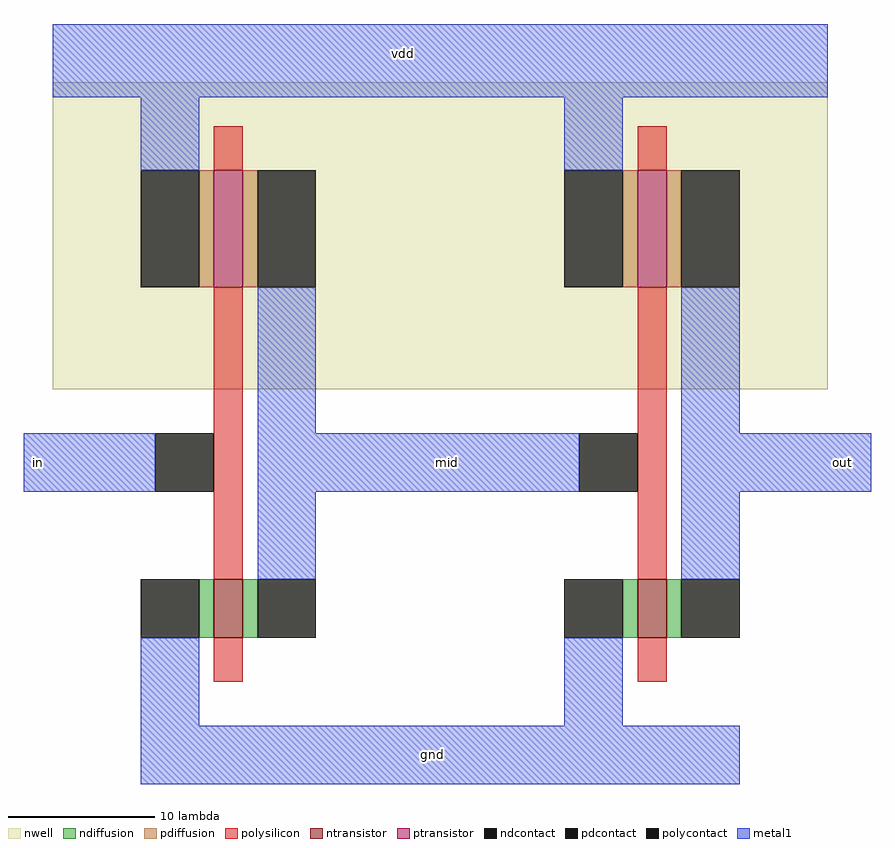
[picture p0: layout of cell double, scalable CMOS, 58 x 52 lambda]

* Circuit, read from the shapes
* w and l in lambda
.subckt double gnd in mid out vdd
M1 mid in gnd VSUBS nfet w=4 l=2
M2 out mid gnd VSUBS nfet w=4 l=2
M3 mid in vdd n1 pfet w=8 l=2
M4 out mid vdd n1 pfet w=8 l=2
.ends

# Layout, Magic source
magic
tech scmos
<< nwell >>
rect 0 0 53 21
<< ntransistor >>
rect 11 -17 13 -13
rect 40 -17 42 -13
<< ptransistor >>
rect 11 7 13 15
rect 40 7 42 15
<< ndiffusion >>
rect 10 -17 11 -13
rect 13 -17 14 -13
rect 39 -17 40 -13
rect 42 -17 43 -13
<< pdiffusion >>
rect 10 7 11 15
rect 13 7 14 15
rect 39 7 40 15
rect 42 7 43 15
<< ndcontact >>
rect 6 -17 10 -13
rect 14 -17 18 -13
rect 35 -17 39 -13
rect 43 -17 47 -13
<< pdcontact >>
rect 6 7 10 15
rect 14 7 18 15
rect 35 7 39 15
rect 43 7 47 15
<< polysilicon >>
rect 11 15 13 18
rect 40 15 42 18
rect 11 -13 13 7
rect 40 -13 42 7
rect 11 -20 13 -17
rect 40 -20 42 -17
<< polycontact >>
rect 7 -7 11 -3
rect 36 -7 40 -3
<< metal1 >>
rect 0 20 53 25
rect 6 15 10 20
rect 35 15 39 20
rect 14 -3 18 7
rect 43 -3 47 7
rect -2 -7 7 -3
rect 14 -7 36 -3
rect 43 -7 56 -3
rect 14 -13 18 -7
rect 43 -13 47 -7
rect 6 -23 10 -17
rect 35 -23 39 -17
rect 6 -27 47 -23
<< labels >>
rlabel metal1 -1 -5 -1 -5 3 in
rlabel metal1 27 -5 27 -5 1 mid
rlabel metal1 54 -5 54 -5 7 out
rlabel metal1 24 23 24 23 5 vdd
rlabel metal1 26 -25 26 -25 1 gnd
<< end >>
